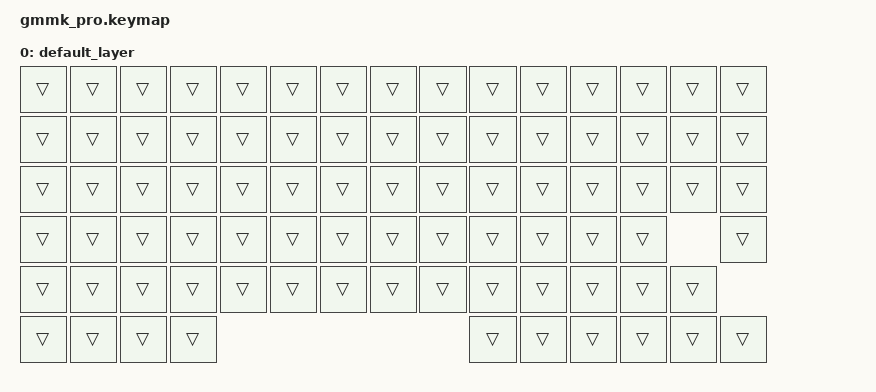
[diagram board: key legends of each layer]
/*
 * Minimale Peripheral-Keymap für GMMK Pro (Split-Rolle)
 * Der STM32 verarbeitet keine Keymap – sie muss nur kompilieren.
 * Volle Keymap lebt auf dem nice!nano Central (config/nice_nano_v2.keymap).
 */

#include <behaviors.dtsi>
#include <dt-bindings/zmk/keys.h>

/ {
    keymap {
        compatible = "zmk,keymap";

        default_layer {
            bindings = <
                &trans &trans &trans &trans &trans &trans &trans &trans &trans &trans &trans &trans &trans &trans &trans
                &trans &trans &trans &trans &trans &trans &trans &trans &trans &trans &trans &trans &trans &trans &trans
                &trans &trans &trans &trans &trans &trans &trans &trans &trans &trans &trans &trans &trans &trans &trans
                &trans &trans &trans &trans &trans &trans &trans &trans &trans &trans &trans &trans &trans        &trans
                &trans &trans &trans &trans &trans &trans &trans &trans &trans &trans &trans &trans &trans &trans
                &trans &trans &trans &trans                                    &trans &trans &trans &trans &trans &trans
            >;
        };
    };
};
